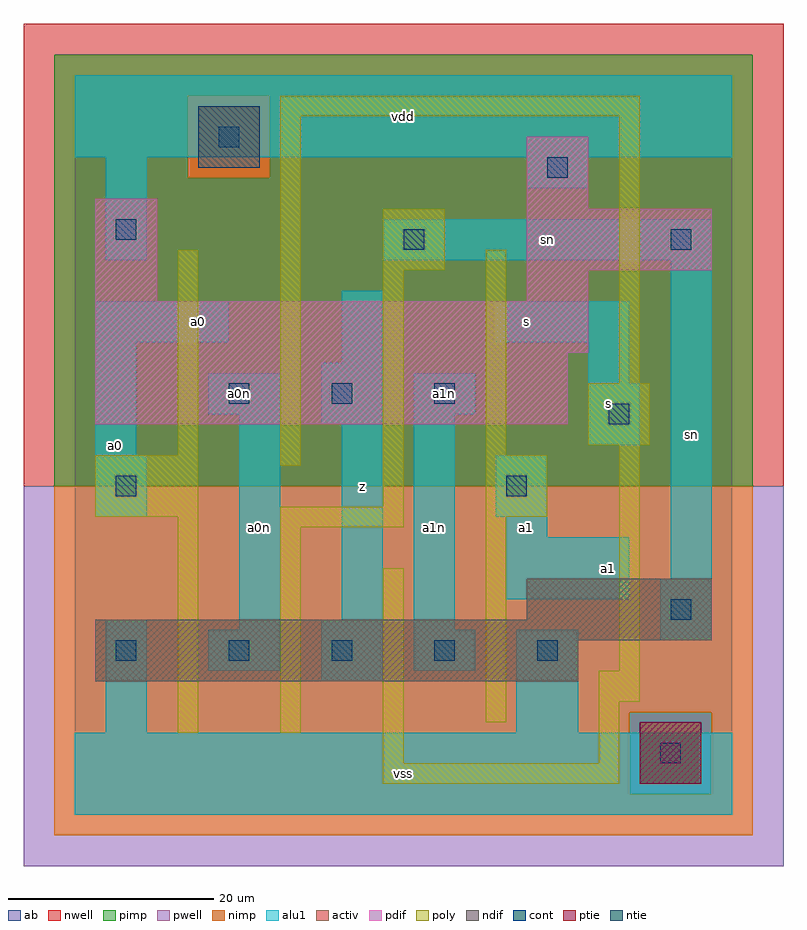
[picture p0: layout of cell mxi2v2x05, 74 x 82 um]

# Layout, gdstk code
import gdstk
lib = gdstk.Library(unit=1e-6, precision=1e-09)
def R(c, l, rs):  # rectangles x0, y0, x1, y1
    for r in rs: c.add(gdstk.rectangle(r[:2], r[2:], *l))
def A(c, l, x, y, w, h, nx, ny, dx, dy):  # array of equal rectangles
    R(c, l, [(x+i*dx, y+j*dy, x+i*dx+w, y+j*dy+h) for i in range(nx) for j in range(ny)])
ndif = (3, 0)
pdif = (4, 0)
ntie = (5, 0)
ptie = (6, 0)
cont = (25, 0)
pwell = (41, 0)
nwell = (42, 0)
activ = (43, 0)
pimp = (44, 0)
nimp = (45, 0)
poly = (46, 0)
alu1 = (49, 0)
ab = (63, 0)

mxi2v2x05 = lib.new_cell('mxi2v2x05')
R(mxi2v2x05, ndif, [(2,13,49,17), (2,17,62,19), (44,19,62,23)])
R(mxi2v2x05, pdif, [(2,38,48,45), (2,45,50,50), (2,50,8,60), (44,50,50,53), (44,53,62,59), (44,59,50,66)])
R(mxi2v2x05, ntie, [(12,63,18,69)])
R(mxi2v2x05, ptie, [(55,3,61,9)])
A(mxi2v2x05, cont, 15, 15, 2, 2, 4, 1, 10, 0)
A(mxi2v2x05, cont, 15, 40, 2, 2, 3, 1, 10, 0)
R(mxi2v2x05, cont, [(57,5,59,7), (4,15,6,17), (58,19,60,21), (4,31,6,33), (42,31,44,33), (52,38,54,40), (32,55,34,57), (58,55,60,57), (4,56,6,58), (46,62,48,64), (14,65,16,67)])
R(mxi2v2x05, pwell, [(-5,-5,69,32)])
R(mxi2v2x05, nwell, [(-5,32,69,77)])
R(mxi2v2x05, activ, [(55,3,61,9), (2,13,49,17), (2,17,62,19), (44,19,62,23), (2,38,48,45), (2,45,50,50), (2,50,8,60), (44,50,50,53), (44,53,62,59), (44,59,50,66), (12,63,18,69)])
R(mxi2v2x05, pimp, [(54,2,62,10), (-2,32,66,62), (-2,62,11,70), (19,62,66,70), (-2,70,66,74)])
R(mxi2v2x05, nimp, [(-2,-2,66,2), (-2,2,54,10), (62,2,66,10), (-2,10,66,32), (11,62,19,70)])
R(mxi2v2x05, poly, [(30,3,53,5), (30,5,32,24), (51,5,53,11), (10,8,12,29), (20,8,22,28), (40,9,42,29), (51,11,55,14), (53,14,55,36), (20,28,32,30), (2,29,12,35), (40,29,46,35), (30,30,32,53), (20,34,22,68), (10,35,12,55), (40,35,42,55), (50,36,56,42), (53,42,55,68), (30,53,36,59), (20,68,55,70)])
R(mxi2v2x05, alu1, [(0,0,64,8), (3,8,7,19), (43,8,49,18), (24,13,30,19), (13,14,20,18), (33,14,39,18), (57,17,62,23), (16,18,20,39), (33,18,37,39), (26,19,30,38), (42,21,54,27), (58,23,62,54), (42,27,46,29), (2,29,7,35), (41,29,46,35), (2,35,6,46), (50,36,55,42), (24,38,30,44), (13,39,20,43), (33,39,39,43), (50,42,54,46), (26,44,30,51), (2,46,15,50), (41,46,54,50), (3,54,7,64), (30,54,62,58), (44,61,50,64), (0,64,64,72)])
R(mxi2v2x05, ab, [(0,0,64,72)])
mxi2v2x05.add(gdstk.Label('a0n', (18,28), layer=49, texttype=0))
mxi2v2x05.add(gdstk.Label('a0n', (16,41), layer=49, texttype=0))
mxi2v2x05.add(gdstk.Label('a1n', (35,28), layer=49, texttype=0))
mxi2v2x05.add(gdstk.Label('a1n', (36,41), layer=49, texttype=0))
mxi2v2x05.add(gdstk.Label('sn', (60,37), layer=49, texttype=0))
mxi2v2x05.add(gdstk.Label('sn', (46,56), layer=49, texttype=0))
mxi2v2x05.add(gdstk.Label('a0', (4,36), layer=49, texttype=0))
mxi2v2x05.add(gdstk.Label('a0', (12,48), layer=49, texttype=0))
mxi2v2x05.add(gdstk.Label('z', (28,32), layer=49, texttype=0))
mxi2v2x05.add(gdstk.Label('vss', (32,4), layer=49, texttype=0))
mxi2v2x05.add(gdstk.Label('a1', (44,28), layer=49, texttype=0))
mxi2v2x05.add(gdstk.Label('s', (44,48), layer=49, texttype=0))
mxi2v2x05.add(gdstk.Label('vdd', (32,68), layer=49, texttype=0))
mxi2v2x05.add(gdstk.Label('a1', (52,24), layer=49, texttype=0))
mxi2v2x05.add(gdstk.Label('s', (52,40), layer=49, texttype=0))

lib.write_gds('mxi2v2x05.gds')
